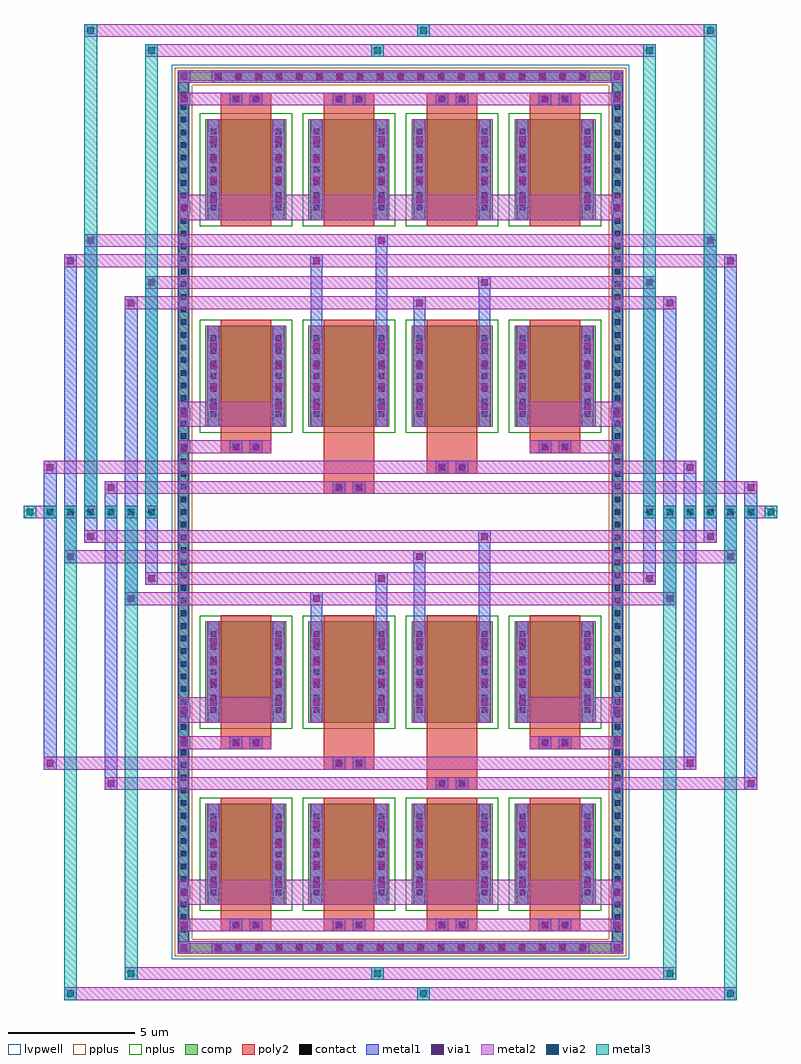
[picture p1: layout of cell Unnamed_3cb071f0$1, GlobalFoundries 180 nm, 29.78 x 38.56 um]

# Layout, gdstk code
import gdstk
lib = gdstk.Library(unit=1e-6, precision=5e-09)
def R(c, l, rs):  # rectangles x0, y0, x1, y1
    for r in rs: c.add(gdstk.rectangle(r[:2], r[2:], *l))
def A(c, l, x, y, w, h, nx, ny, dx, dy):  # array of equal rectangles
    R(c, l, [(x+i*dx, y+j*dy, x+i*dx+w, y+j*dy+h) for i in range(nx) for j in range(ny)])
def P(c, l, *ps):  # polygons
    for p in ps: c.add(gdstk.Polygon(p, *l))
comp = (22, 0)
poly2 = (30, 0)
pplus = (31, 0)
nplus = (32, 0)
contact = (33, 0)
metal1 = (34, 0)
via1 = (35, 0)
metal2 = (36, 0)
via2 = (38, 0)
metal3 = (42, 0)
lvpwell = (204, 0)

unnamed_3cb071f0_1 = lib.new_cell('Unnamed_3cb071f0$1')
A(unnamed_3cb071f0_1, comp, -7.38, -17.39, 0.36, 0.36, 19, 2, 0.8, 34.42)
A(unnamed_3cb071f0_1, comp, -8.755, -16.68, 0.36, 0.36, 1, 67, 0, 0.5)
A(unnamed_3cb071f0_1, comp, 8.395, -16.68, 0.36, 0.36, 1, 67, 0, 0.5)
A(unnamed_3cb071f0_1, comp, -7.705, -15.525, 3.2, 4, 4, 2, 4.07, 7.2)
A(unnamed_3cb071f0_1, comp, -7.705, 3.365, 3.2, 4, 4, 2, 4.07, 8.16)
R(unnamed_3cb071f0_1, comp, [(-7.38,-17.39,7.38,-17.03), (-8.755,-16.68,-8.395,16.68), (8.395,-16.68,8.755,16.68), (-7.38,17.03,7.38,17.39)])
P(unnamed_3cb071f0_1, comp, [(8.755,17.39),(-8.755,17.39),(-8.755,-17.03),(-8.395,-17.03),(-8.395,17.03),(8.395,17.03),(8.395,-17.03),(-8.395,-17.03),(-8.755,-17.03),(-8.755,-17.39),(8.755,-17.39)])
A(unnamed_3cb071f0_1, poly2, -7.105, -16.565, 2, 0.5, 4, 2, 4.07, 32.63)
A(unnamed_3cb071f0_1, poly2, -7.105, -16.065, 2, 0.3, 4, 2, 4.07, 31.83)
A(unnamed_3cb071f0_1, poly2, -7.105, -15.765, 2, 4.48, 4, 2, 4.07, 7.2)
A(unnamed_3cb071f0_1, poly2, -7.105, 3.125, 2, 4.48, 4, 2, 4.07, 8.16)
R(unnamed_3cb071f0_1, poly2, [(-6.685,-16.495,-6.325,-16.135), (-5.885,-16.495,-5.525,-16.135), (-2.615,-16.495,-2.255,-16.135), (-1.815,-16.495,-1.455,-16.135), (1.455,-16.495,1.815,-16.135), (2.255,-16.495,2.615,-16.135), (5.525,-16.495,5.885,-16.135), (6.325,-16.495,6.685,-16.135), (1.035,-10.975,3.035,-10.475), (1.455,-10.905,1.815,-10.545), (2.255,-10.905,2.615,-10.545), (1.035,-10.475,3.035,-8.565), (-3.035,-10.175,-1.035,-9.675), (-2.615,-10.105,-2.255,-9.745), (-1.815,-10.105,-1.455,-9.745), (-3.035,-9.675,-1.035,-8.565), (-7.105,-9.365,-5.105,-8.865), (5.105,-9.365,7.105,-8.865), (-6.685,-9.295,-6.325,-8.935), (-5.885,-9.295,-5.525,-8.935), (5.525,-9.295,5.885,-8.935), (6.325,-9.295,6.685,-8.935), (-7.105,-8.865,-5.105,-8.565), (5.105,-8.865,7.105,-8.565), (-3.035,0.715,-1.035,1.215), (-2.615,0.785,-2.255,1.145), (-1.815,0.785,-1.455,1.145), (-3.035,1.215,-1.035,3.125), (1.035,1.515,3.035,2.015), (1.455,1.585,1.815,1.945), (2.255,1.585,2.615,1.945), (1.035,2.015,3.035,3.125), (-7.105,2.325,-5.105,2.825), (5.105,2.325,7.105,2.825), (-6.685,2.395,-6.325,2.755), (-5.885,2.395,-5.525,2.755), (5.525,2.395,5.885,2.755), (6.325,2.395,6.685,2.755), (-7.105,2.825,-5.105,3.125), (5.105,2.825,7.105,3.125), (-6.685,16.135,-6.325,16.495), (-5.885,16.135,-5.525,16.495), (-2.615,16.135,-2.255,16.495), (-1.815,16.135,-1.455,16.495), (1.455,16.135,1.815,16.495), (2.255,16.135,2.615,16.495), (5.525,16.135,5.885,16.495), (6.325,16.135,6.685,16.495)])
P(unnamed_3cb071f0_1, pplus, [(8.915,17.55),(-8.915,17.55),(-8.915,-16.87),(-8.235,-16.87),(-8.235,16.87),(8.235,16.87),(8.235,-16.87),(-8.235,-16.87),(-8.915,-16.87),(-8.915,-17.55),(8.915,-17.55)])
A(unnamed_3cb071f0_1, nplus, -7.935, -15.755, 3.66, 4.46, 4, 2, 4.07, 7.2)
A(unnamed_3cb071f0_1, nplus, -7.935, 3.135, 3.66, 4.46, 4, 2, 4.07, 8.16)
A(unnamed_3cb071f0_1, contact, -7.31, -17.32, 0.22, 0.22, 19, 2, 0.8, 34.42)
A(unnamed_3cb071f0_1, contact, -8.685, -16.61, 0.22, 0.22, 1, 67, 0, 0.5)
A(unnamed_3cb071f0_1, contact, 8.465, -16.61, 0.22, 0.22, 1, 67, 0, 0.5)
A(unnamed_3cb071f0_1, contact, -7.495, -15.135, 0.22, 0.22, 1, 7, 0, 0.5)
A(unnamed_3cb071f0_1, contact, -4.935, -15.135, 0.22, 0.22, 1, 7, 0, 0.5)
A(unnamed_3cb071f0_1, contact, -3.425, -15.135, 0.22, 0.22, 1, 7, 0, 0.5)
A(unnamed_3cb071f0_1, contact, -0.865, -15.135, 0.22, 0.22, 1, 7, 0, 0.5)
A(unnamed_3cb071f0_1, contact, 0.645, -15.135, 0.22, 0.22, 1, 7, 0, 0.5)
A(unnamed_3cb071f0_1, contact, 3.205, -15.135, 0.22, 0.22, 1, 7, 0, 0.5)
A(unnamed_3cb071f0_1, contact, 4.715, -15.135, 0.22, 0.22, 1, 7, 0, 0.5)
A(unnamed_3cb071f0_1, contact, 7.275, -15.135, 0.22, 0.22, 1, 7, 0, 0.5)
A(unnamed_3cb071f0_1, contact, -7.495, -7.935, 0.22, 0.22, 1, 7, 0, 0.5)
A(unnamed_3cb071f0_1, contact, -4.935, -7.935, 0.22, 0.22, 1, 7, 0, 0.5)
A(unnamed_3cb071f0_1, contact, -3.425, -7.935, 0.22, 0.22, 1, 7, 0, 0.5)
A(unnamed_3cb071f0_1, contact, -0.865, -7.935, 0.22, 0.22, 1, 7, 0, 0.5)
A(unnamed_3cb071f0_1, contact, 0.645, -7.935, 0.22, 0.22, 1, 7, 0, 0.5)
A(unnamed_3cb071f0_1, contact, 3.205, -7.935, 0.22, 0.22, 1, 7, 0, 0.5)
A(unnamed_3cb071f0_1, contact, 4.715, -7.935, 0.22, 0.22, 1, 7, 0, 0.5)
A(unnamed_3cb071f0_1, contact, 7.275, -7.935, 0.22, 0.22, 1, 7, 0, 0.5)
A(unnamed_3cb071f0_1, contact, -7.495, 3.755, 0.22, 0.22, 1, 7, 0, 0.5)
A(unnamed_3cb071f0_1, contact, -4.935, 3.755, 0.22, 0.22, 1, 7, 0, 0.5)
A(unnamed_3cb071f0_1, contact, -3.425, 3.755, 0.22, 0.22, 1, 7, 0, 0.5)
A(unnamed_3cb071f0_1, contact, -0.865, 3.755, 0.22, 0.22, 1, 7, 0, 0.5)
A(unnamed_3cb071f0_1, contact, 0.645, 3.755, 0.22, 0.22, 1, 7, 0, 0.5)
A(unnamed_3cb071f0_1, contact, 3.205, 3.755, 0.22, 0.22, 1, 7, 0, 0.5)
A(unnamed_3cb071f0_1, contact, 4.715, 3.755, 0.22, 0.22, 1, 7, 0, 0.5)
A(unnamed_3cb071f0_1, contact, 7.275, 3.755, 0.22, 0.22, 1, 7, 0, 0.5)
A(unnamed_3cb071f0_1, contact, -7.495, 11.915, 0.22, 0.22, 1, 7, 0, 0.5)
A(unnamed_3cb071f0_1, contact, -4.935, 11.915, 0.22, 0.22, 1, 7, 0, 0.5)
A(unnamed_3cb071f0_1, contact, -3.425, 11.915, 0.22, 0.22, 1, 7, 0, 0.5)
A(unnamed_3cb071f0_1, contact, -0.865, 11.915, 0.22, 0.22, 1, 7, 0, 0.5)
A(unnamed_3cb071f0_1, contact, 0.645, 11.915, 0.22, 0.22, 1, 7, 0, 0.5)
A(unnamed_3cb071f0_1, contact, 3.205, 11.915, 0.22, 0.22, 1, 7, 0, 0.5)
A(unnamed_3cb071f0_1, contact, 4.715, 11.915, 0.22, 0.22, 1, 7, 0, 0.5)
A(unnamed_3cb071f0_1, contact, 7.275, 11.915, 0.22, 0.22, 1, 7, 0, 0.5)
R(unnamed_3cb071f0_1, contact, [(-6.615,-16.425,-6.395,-16.205), (-5.815,-16.425,-5.595,-16.205), (-2.545,-16.425,-2.325,-16.205), (-1.745,-16.425,-1.525,-16.205), (1.525,-16.425,1.745,-16.205), (2.325,-16.425,2.545,-16.205), (5.595,-16.425,5.815,-16.205), (6.395,-16.425,6.615,-16.205), (1.525,-10.835,1.745,-10.615), (2.325,-10.835,2.545,-10.615), (-2.545,-10.035,-2.325,-9.815), (-1.745,-10.035,-1.525,-9.815), (-6.615,-9.225,-6.395,-9.005), (-5.815,-9.225,-5.595,-9.005), (5.595,-9.225,5.815,-9.005), (6.395,-9.225,6.615,-9.005), (-2.545,0.855,-2.325,1.075), (-1.745,0.855,-1.525,1.075), (1.525,1.655,1.745,1.875), (2.325,1.655,2.545,1.875), (-6.615,2.465,-6.395,2.685), (-5.815,2.465,-5.595,2.685), (5.595,2.465,5.815,2.685), (6.395,2.465,6.615,2.685), (-6.615,16.205,-6.395,16.425), (-5.815,16.205,-5.595,16.425), (-2.545,16.205,-2.325,16.425), (-1.745,16.205,-1.525,16.425), (1.525,16.205,1.745,16.425), (2.325,16.205,2.545,16.425), (5.595,16.205,5.815,16.425), (6.395,16.205,6.615,16.425)])
A(unnamed_3cb071f0_1, metal1, -7.45, -17.46, 0.5, 0.5, 19, 2, 0.8, 34.42)
A(unnamed_3cb071f0_1, metal1, -8.805, -16.73, 0.46, 0.46, 1, 67, 0, 0.5)
A(unnamed_3cb071f0_1, metal1, 8.345, -16.73, 0.46, 0.46, 1, 67, 0, 0.5)
A(unnamed_3cb071f0_1, metal1, -7.615, -15.255, 0.46, 0.46, 1, 7, 0, 0.5)
A(unnamed_3cb071f0_1, metal1, -5.055, -15.255, 0.46, 0.46, 1, 7, 0, 0.5)
A(unnamed_3cb071f0_1, metal1, -3.545, -15.255, 0.46, 0.46, 1, 7, 0, 0.5)
A(unnamed_3cb071f0_1, metal1, -0.985, -15.255, 0.46, 0.46, 1, 7, 0, 0.5)
A(unnamed_3cb071f0_1, metal1, 0.525, -15.255, 0.46, 0.46, 1, 7, 0, 0.5)
A(unnamed_3cb071f0_1, metal1, 3.085, -15.255, 0.46, 0.46, 1, 7, 0, 0.5)
A(unnamed_3cb071f0_1, metal1, 4.595, -15.255, 0.46, 0.46, 1, 7, 0, 0.5)
A(unnamed_3cb071f0_1, metal1, 7.155, -15.255, 0.46, 0.46, 1, 7, 0, 0.5)
A(unnamed_3cb071f0_1, metal1, -7.635, -14.975, 0.5, 0.5, 1, 4, 0, 0.8)
A(unnamed_3cb071f0_1, metal1, -5.075, -14.975, 0.5, 0.5, 1, 4, 0, 0.8)
A(unnamed_3cb071f0_1, metal1, -3.565, -14.975, 0.5, 0.5, 1, 4, 0, 0.8)
A(unnamed_3cb071f0_1, metal1, -1.005, -14.975, 0.5, 0.5, 1, 4, 0, 0.8)
A(unnamed_3cb071f0_1, metal1, 0.505, -14.975, 0.5, 0.5, 1, 4, 0, 0.8)
A(unnamed_3cb071f0_1, metal1, 3.065, -14.975, 0.5, 0.5, 1, 4, 0, 0.8)
A(unnamed_3cb071f0_1, metal1, 4.575, -14.975, 0.5, 0.5, 1, 4, 0, 0.8)
A(unnamed_3cb071f0_1, metal1, 7.135, -14.975, 0.5, 0.5, 1, 4, 0, 0.8)
A(unnamed_3cb071f0_1, metal1, -7.615, -8.055, 0.46, 0.46, 1, 7, 0, 0.5)
A(unnamed_3cb071f0_1, metal1, -5.055, -8.055, 0.46, 0.46, 1, 7, 0, 0.5)
A(unnamed_3cb071f0_1, metal1, -3.545, -8.055, 0.46, 0.46, 1, 7, 0, 0.5)
A(unnamed_3cb071f0_1, metal1, -0.985, -8.055, 0.46, 0.46, 1, 7, 0, 0.5)
A(unnamed_3cb071f0_1, metal1, 0.525, -8.055, 0.46, 0.46, 1, 7, 0, 0.5)
A(unnamed_3cb071f0_1, metal1, 3.085, -8.055, 0.46, 0.46, 1, 7, 0, 0.5)
A(unnamed_3cb071f0_1, metal1, 4.595, -8.055, 0.46, 0.46, 1, 7, 0, 0.5)
A(unnamed_3cb071f0_1, metal1, 7.155, -8.055, 0.46, 0.46, 1, 7, 0, 0.5)
A(unnamed_3cb071f0_1, metal1, -7.635, -7.775, 0.5, 0.5, 1, 4, 0, 0.8)
A(unnamed_3cb071f0_1, metal1, -5.075, -7.775, 0.5, 0.5, 1, 4, 0, 0.8)
A(unnamed_3cb071f0_1, metal1, -3.565, -7.775, 0.5, 0.5, 1, 4, 0, 0.8)
A(unnamed_3cb071f0_1, metal1, -1.005, -7.775, 0.5, 0.5, 1, 4, 0, 0.8)
A(unnamed_3cb071f0_1, metal1, 0.505, -7.775, 0.5, 0.5, 1, 4, 0, 0.8)
A(unnamed_3cb071f0_1, metal1, 3.065, -7.775, 0.5, 0.5, 1, 4, 0, 0.8)
A(unnamed_3cb071f0_1, metal1, 4.575, -7.775, 0.5, 0.5, 1, 4, 0, 0.8)
A(unnamed_3cb071f0_1, metal1, 7.135, -7.775, 0.5, 0.5, 1, 4, 0, 0.8)
A(unnamed_3cb071f0_1, metal1, -14.09, -0.25, 0.5, 0.5, 6, 1, 0.8, 0)
A(unnamed_3cb071f0_1, metal1, 9.59, -0.25, 0.5, 0.5, 6, 1, 0.8, 0)
A(unnamed_3cb071f0_1, metal1, -7.615, 3.635, 0.46, 0.46, 1, 7, 0, 0.5)
A(unnamed_3cb071f0_1, metal1, -5.055, 3.635, 0.46, 0.46, 1, 7, 0, 0.5)
A(unnamed_3cb071f0_1, metal1, -3.545, 3.635, 0.46, 0.46, 1, 7, 0, 0.5)
A(unnamed_3cb071f0_1, metal1, -0.985, 3.635, 0.46, 0.46, 1, 7, 0, 0.5)
A(unnamed_3cb071f0_1, metal1, 0.525, 3.635, 0.46, 0.46, 1, 7, 0, 0.5)
A(unnamed_3cb071f0_1, metal1, 3.085, 3.635, 0.46, 0.46, 1, 7, 0, 0.5)
A(unnamed_3cb071f0_1, metal1, 4.595, 3.635, 0.46, 0.46, 1, 7, 0, 0.5)
A(unnamed_3cb071f0_1, metal1, 7.155, 3.635, 0.46, 0.46, 1, 7, 0, 0.5)
A(unnamed_3cb071f0_1, metal1, -7.635, 3.915, 0.5, 0.5, 1, 4, 0, 0.8)
A(unnamed_3cb071f0_1, metal1, -5.075, 3.915, 0.5, 0.5, 1, 4, 0, 0.8)
A(unnamed_3cb071f0_1, metal1, -3.565, 3.915, 0.5, 0.5, 1, 4, 0, 0.8)
A(unnamed_3cb071f0_1, metal1, -1.005, 3.915, 0.5, 0.5, 1, 4, 0, 0.8)
A(unnamed_3cb071f0_1, metal1, 0.505, 3.915, 0.5, 0.5, 1, 4, 0, 0.8)
A(unnamed_3cb071f0_1, metal1, 3.065, 3.915, 0.5, 0.5, 1, 4, 0, 0.8)
A(unnamed_3cb071f0_1, metal1, 4.575, 3.915, 0.5, 0.5, 1, 4, 0, 0.8)
A(unnamed_3cb071f0_1, metal1, 7.135, 3.915, 0.5, 0.5, 1, 4, 0, 0.8)
A(unnamed_3cb071f0_1, metal1, -7.615, 11.795, 0.46, 0.46, 1, 7, 0, 0.5)
A(unnamed_3cb071f0_1, metal1, -5.055, 11.795, 0.46, 0.46, 1, 7, 0, 0.5)
A(unnamed_3cb071f0_1, metal1, -3.545, 11.795, 0.46, 0.46, 1, 7, 0, 0.5)
A(unnamed_3cb071f0_1, metal1, -0.985, 11.795, 0.46, 0.46, 1, 7, 0, 0.5)
A(unnamed_3cb071f0_1, metal1, 0.525, 11.795, 0.46, 0.46, 1, 7, 0, 0.5)
A(unnamed_3cb071f0_1, metal1, 3.085, 11.795, 0.46, 0.46, 1, 7, 0, 0.5)
A(unnamed_3cb071f0_1, metal1, 4.595, 11.795, 0.46, 0.46, 1, 7, 0, 0.5)
A(unnamed_3cb071f0_1, metal1, 7.155, 11.795, 0.46, 0.46, 1, 7, 0, 0.5)
A(unnamed_3cb071f0_1, metal1, -7.635, 12.075, 0.5, 0.5, 1, 4, 0, 0.8)
A(unnamed_3cb071f0_1, metal1, -5.075, 12.075, 0.5, 0.5, 1, 4, 0, 0.8)
A(unnamed_3cb071f0_1, metal1, -3.565, 12.075, 0.5, 0.5, 1, 4, 0, 0.8)
A(unnamed_3cb071f0_1, metal1, -1.005, 12.075, 0.5, 0.5, 1, 4, 0, 0.8)
A(unnamed_3cb071f0_1, metal1, 0.505, 12.075, 0.5, 0.5, 1, 4, 0, 0.8)
A(unnamed_3cb071f0_1, metal1, 3.065, 12.075, 0.5, 0.5, 1, 4, 0, 0.8)
A(unnamed_3cb071f0_1, metal1, 4.575, 12.075, 0.5, 0.5, 1, 4, 0, 0.8)
A(unnamed_3cb071f0_1, metal1, 7.135, 12.075, 0.5, 0.5, 1, 4, 0, 0.8)
R(unnamed_3cb071f0_1, metal1, [(-8.805,-17.46,-8.305,-16.96), (-8.805,-17.46,-8.305,-16.96), (-8.805,-17.46,-8.345,-17.03), (-7.45,-17.46,7.45,-16.96), (8.305,-17.46,8.805,-16.96), (8.305,-17.46,8.805,-16.96), (8.345,-17.46,8.805,-17.03), (-8.805,-17.03,-8.345,17.03), (8.345,-17.03,8.805,17.03), (-8.805,-16.565,-8.305,-16.065), (-6.755,-16.565,-6.255,-16.065), (-5.955,-16.565,-5.455,-16.065), (-2.685,-16.565,-2.185,-16.065), (-1.885,-16.565,-1.385,-16.065), (1.385,-16.565,1.885,-16.065), (2.185,-16.565,2.685,-16.065), (5.455,-16.565,5.955,-16.065), (6.255,-16.565,6.755,-16.065), (8.305,-16.565,8.805,-16.065), (-7.615,-15.525,-7.155,-11.525), (-5.055,-15.525,-4.595,-11.525), (-3.545,-15.525,-3.085,-11.525), (-0.985,-15.525,-0.525,-11.525), (0.525,-15.525,0.985,-11.525), (3.085,-15.525,3.545,-11.525), (4.595,-15.525,5.055,-11.525), (7.155,-15.525,7.615,-11.525), (-8.805,-15.275,-8.305,-14.775), (8.305,-15.275,8.805,-14.775), (-7.635,-14.975,-7.135,-12.075), (-5.075,-14.975,-4.575,-12.075), (-3.565,-14.975,-3.065,-12.075), (-1.005,-14.975,-0.505,-12.075), (0.505,-14.975,1.005,-12.075), (3.065,-14.975,3.565,-12.075), (4.575,-14.975,5.075,-12.075), (7.135,-14.975,7.635,-12.075), (-11.69,-10.975,-11.19,-10.475), (-11.69,-10.975,-11.19,-10.475), (-11.69,-10.975,-11.19,0.25), (1.385,-10.975,1.885,-10.475), (2.185,-10.975,2.685,-10.475), (13.59,-10.975,14.09,-10.475), (13.59,-10.975,14.09,-10.475), (13.59,-10.975,14.09,0.25), (-14.09,-10.175,-13.59,-9.675), (-14.09,-10.175,-13.59,-9.675), (-14.09,-10.175,-13.59,0.25), (-2.685,-10.175,-2.185,-9.675), (-1.885,-10.175,-1.385,-9.675), (11.19,-10.175,11.69,-9.675), (11.19,-10.175,11.69,-9.675), (11.19,-10.175,11.69,0.25), (-8.805,-9.365,-8.305,-8.865), (-6.755,-9.365,-6.255,-8.865), (-5.955,-9.365,-5.455,-8.865), (5.455,-9.365,5.955,-8.865), (6.255,-9.365,6.755,-8.865), (8.305,-9.365,8.805,-8.865), (-7.615,-8.325,-7.155,-4.325), (-5.055,-8.325,-4.595,-4.325), (-3.545,-8.325,-3.085,-4.325), (-0.985,-8.325,-0.525,-4.325), (0.525,-8.325,0.985,-4.325), (3.085,-8.325,3.545,-4.325), (4.595,-8.325,5.055,-4.325), (7.155,-8.325,7.615,-4.325), (-8.805,-8.075,-8.305,-7.575), (8.305,-8.075,8.805,-7.575), (-7.635,-7.775,-7.135,-4.875), (-5.075,-7.775,-4.575,-4.875), (-3.565,-7.775,-3.065,-4.875), (-1.005,-7.775,-0.505,-4.875), (0.505,-7.775,1.005,-4.875), (3.065,-7.775,3.565,-4.875), (4.575,-7.775,5.075,-4.875), (7.135,-7.775,7.635,-4.875), (-3.545,-4.325,-3.085,-3.175), (-0.985,-4.325,-0.525,-2.375), (0.525,-4.325,0.985,-1.515), (3.085,-4.325,3.545,-0.715), (-10.89,-3.675,-10.39,-3.175), (-10.89,-3.675,-10.39,-3.175), (-10.89,-3.675,-10.39,0.25), (-3.565,-3.675,-3.065,-3.175), (10.39,-3.675,10.89,-3.175), (10.39,-3.675,10.89,-3.175), (10.39,-3.675,10.89,0.25), (-10.09,-2.875,-9.59,-2.375), (-10.09,-2.875,-9.59,-2.375), (-10.09,-2.875,-9.59,0.25), (-1.005,-2.875,-0.505,-2.375), (9.59,-2.875,10.09,-2.375), (9.59,-2.875,10.09,-2.375), (9.59,-2.875,10.09,0.25), (-13.29,-2.015,-12.79,-1.515), (-13.29,-2.015,-12.79,-1.515), (-13.29,-2.015,-12.79,0.25), (0.505,-2.015,1.005,-1.515), (12.79,-2.015,13.29,-1.515), (12.79,-2.015,13.29,-1.515), (12.79,-2.015,13.29,0.25), (-12.49,-1.215,-11.99,-0.715), (-12.49,-1.215,-11.99,-0.715), (-12.49,-1.215,-11.99,0.25), (3.065,-1.215,3.565,-0.715), (11.99,-1.215,12.49,-0.715), (11.99,-1.215,12.49,-0.715), (11.99,-1.215,12.49,0.25), (-14.09,0.25,-13.59,2.015), (-13.29,0.25,-12.79,10.175), (-12.49,0.25,-11.99,10.975), (-11.69,0.25,-11.19,1.215), (-10.89,0.25,-10.39,8.515), (-10.09,0.25,-9.59,9.315), (9.59,0.25,10.09,9.315), (10.39,0.25,10.89,8.515), (11.19,0.25,11.69,2.015), (11.99,0.25,12.49,10.975), (12.79,0.25,13.29,10.175), (13.59,0.25,14.09,1.215), (-11.69,0.715,-11.19,1.215), (-11.69,0.715,-11.19,1.215), (-2.685,0.715,-2.185,1.215), (-1.885,0.715,-1.385,1.215), (13.59,0.715,14.09,1.215), (13.59,0.715,14.09,1.215), (-14.09,1.515,-13.59,2.015), (-14.09,1.515,-13.59,2.015), (1.385,1.515,1.885,2.015), (2.185,1.515,2.685,2.015), (11.19,1.515,11.69,2.015), (11.19,1.515,11.69,2.015), (-8.805,2.325,-8.305,2.825), (-6.755,2.325,-6.255,2.825), (-5.955,2.325,-5.455,2.825), (5.455,2.325,5.955,2.825), (6.255,2.325,6.755,2.825), (8.305,2.325,8.805,2.825), (-7.615,3.365,-7.155,7.365), (-5.055,3.365,-4.595,7.365), (-3.545,3.365,-3.085,7.365), (-0.985,3.365,-0.525,7.365), (0.525,3.365,0.985,7.365), (3.085,3.365,3.545,7.365), (4.595,3.365,5.055,7.365), (7.155,3.365,7.615,7.365), (-8.805,3.615,-8.305,4.115), (8.305,3.615,8.805,4.115), (-7.635,3.915,-7.135,6.815), (-5.075,3.915,-4.575,6.815), (-3.565,3.915,-3.065,6.815), (-1.005,3.915,-0.505,6.815), (0.505,3.915,1.005,6.815), (3.065,3.915,3.565,6.815), (4.575,3.915,5.075,6.815), (7.135,3.915,7.635,6.815), (-3.545,7.365,-3.085,10.175), (-0.985,7.365,-0.525,10.975), (0.525,7.365,0.985,8.515), (3.085,7.365,3.545,9.315), (-10.89,8.015,-10.39,8.515), (-10.89,8.015,-10.39,8.515), (0.505,8.015,1.005,8.515), (10.39,8.015,10.89,8.515), (10.39,8.015,10.89,8.515), (-10.09,8.815,-9.59,9.315), (-10.09,8.815,-9.59,9.315), (3.065,8.815,3.565,9.315), (9.59,8.815,10.09,9.315), (9.59,8.815,10.09,9.315), (-13.29,9.675,-12.79,10.175), (-13.29,9.675,-12.79,10.175), (-3.565,9.675,-3.065,10.175), (12.79,9.675,13.29,10.175), (12.79,9.675,13.29,10.175), (-12.49,10.475,-11.99,10.975), (-12.49,10.475,-11.99,10.975), (-1.005,10.475,-0.505,10.975), (11.99,10.475,12.49,10.975), (11.99,10.475,12.49,10.975), (-7.615,11.525,-7.155,15.525), (-5.055,11.525,-4.595,15.525), (-3.545,11.525,-3.085,15.525), (-0.985,11.525,-0.525,15.525), (0.525,11.525,0.985,15.525), (3.085,11.525,3.545,15.525), (4.595,11.525,5.055,15.525), (7.155,11.525,7.615,15.525), (-8.805,11.775,-8.305,12.275), (8.305,11.775,8.805,12.275), (-7.635,12.075,-7.135,14.975), (-5.075,12.075,-4.575,14.975), (-3.565,12.075,-3.065,14.975), (-1.005,12.075,-0.505,14.975), (0.505,12.075,1.005,14.975), (3.065,12.075,3.565,14.975), (4.575,12.075,5.075,14.975), (7.135,12.075,7.635,14.975), (-8.805,16.065,-8.305,16.565), (-6.755,16.065,-6.255,16.565), (-5.955,16.065,-5.455,16.565), (-2.685,16.065,-2.185,16.565), (-1.885,16.065,-1.385,16.565), (1.385,16.065,1.885,16.565), (2.185,16.065,2.685,16.565), (5.455,16.065,5.955,16.565), (6.255,16.065,6.755,16.565), (8.305,16.065,8.805,16.565), (-8.805,16.96,-8.305,17.46), (-8.805,16.96,-8.305,17.46), (-7.45,16.96,7.45,17.46), (8.305,16.96,8.805,17.46), (8.305,16.96,8.805,17.46), (-8.805,17.03,-8.345,17.46), (8.345,17.03,8.805,17.46)])
A(unnamed_3cb071f0_1, via1, -7.33, -17.34, 0.26, 0.26, 19, 2, 0.8, 34.42)
A(unnamed_3cb071f0_1, via1, -7.515, -14.855, 0.26, 0.26, 1, 4, 0, 0.8)
A(unnamed_3cb071f0_1, via1, -4.955, -14.855, 0.26, 0.26, 1, 4, 0, 0.8)
A(unnamed_3cb071f0_1, via1, -3.445, -14.855, 0.26, 0.26, 1, 4, 0, 0.8)
A(unnamed_3cb071f0_1, via1, -0.885, -14.855, 0.26, 0.26, 1, 4, 0, 0.8)
A(unnamed_3cb071f0_1, via1, 0.625, -14.855, 0.26, 0.26, 1, 4, 0, 0.8)
A(unnamed_3cb071f0_1, via1, 3.185, -14.855, 0.26, 0.26, 1, 4, 0, 0.8)
A(unnamed_3cb071f0_1, via1, 4.695, -14.855, 0.26, 0.26, 1, 4, 0, 0.8)
A(unnamed_3cb071f0_1, via1, 7.255, -14.855, 0.26, 0.26, 1, 4, 0, 0.8)
A(unnamed_3cb071f0_1, via1, -7.515, -7.655, 0.26, 0.26, 1, 4, 0, 0.8)
A(unnamed_3cb071f0_1, via1, -4.955, -7.655, 0.26, 0.26, 1, 4, 0, 0.8)
A(unnamed_3cb071f0_1, via1, -3.445, -7.655, 0.26, 0.26, 1, 4, 0, 0.8)
A(unnamed_3cb071f0_1, via1, -0.885, -7.655, 0.26, 0.26, 1, 4, 0, 0.8)
A(unnamed_3cb071f0_1, via1, 0.625, -7.655, 0.26, 0.26, 1, 4, 0, 0.8)
A(unnamed_3cb071f0_1, via1, 3.185, -7.655, 0.26, 0.26, 1, 4, 0, 0.8)
A(unnamed_3cb071f0_1, via1, 4.695, -7.655, 0.26, 0.26, 1, 4, 0, 0.8)
A(unnamed_3cb071f0_1, via1, 7.255, -7.655, 0.26, 0.26, 1, 4, 0, 0.8)
A(unnamed_3cb071f0_1, via1, -13.97, -0.13, 0.26, 0.26, 6, 1, 0.8, 0)
A(unnamed_3cb071f0_1, via1, 9.71, -0.13, 0.26, 0.26, 6, 1, 0.8, 0)
A(unnamed_3cb071f0_1, via1, -7.515, 4.035, 0.26, 0.26, 1, 4, 0, 0.8)
A(unnamed_3cb071f0_1, via1, -4.955, 4.035, 0.26, 0.26, 1, 4, 0, 0.8)
A(unnamed_3cb071f0_1, via1, -3.445, 4.035, 0.26, 0.26, 1, 4, 0, 0.8)
A(unnamed_3cb071f0_1, via1, -0.885, 4.035, 0.26, 0.26, 1, 4, 0, 0.8)
A(unnamed_3cb071f0_1, via1, 0.625, 4.035, 0.26, 0.26, 1, 4, 0, 0.8)
A(unnamed_3cb071f0_1, via1, 3.185, 4.035, 0.26, 0.26, 1, 4, 0, 0.8)
A(unnamed_3cb071f0_1, via1, 4.695, 4.035, 0.26, 0.26, 1, 4, 0, 0.8)
A(unnamed_3cb071f0_1, via1, 7.255, 4.035, 0.26, 0.26, 1, 4, 0, 0.8)
A(unnamed_3cb071f0_1, via1, -7.515, 12.195, 0.26, 0.26, 1, 4, 0, 0.8)
A(unnamed_3cb071f0_1, via1, -4.955, 12.195, 0.26, 0.26, 1, 4, 0, 0.8)
A(unnamed_3cb071f0_1, via1, -3.445, 12.195, 0.26, 0.26, 1, 4, 0, 0.8)
A(unnamed_3cb071f0_1, via1, -0.885, 12.195, 0.26, 0.26, 1, 4, 0, 0.8)
A(unnamed_3cb071f0_1, via1, 0.625, 12.195, 0.26, 0.26, 1, 4, 0, 0.8)
A(unnamed_3cb071f0_1, via1, 3.185, 12.195, 0.26, 0.26, 1, 4, 0, 0.8)
A(unnamed_3cb071f0_1, via1, 4.695, 12.195, 0.26, 0.26, 1, 4, 0, 0.8)
A(unnamed_3cb071f0_1, via1, 7.255, 12.195, 0.26, 0.26, 1, 4, 0, 0.8)
R(unnamed_3cb071f0_1, via1, [(-8.685,-17.34,-8.425,-17.08), (8.425,-17.34,8.685,-17.08), (-8.685,-16.445,-8.425,-16.185), (-6.635,-16.445,-6.375,-16.185), (-5.835,-16.445,-5.575,-16.185), (-2.565,-16.445,-2.305,-16.185), (-1.765,-16.445,-1.505,-16.185), (1.505,-16.445,1.765,-16.185), (2.305,-16.445,2.565,-16.185), (5.575,-16.445,5.835,-16.185), (6.375,-16.445,6.635,-16.185), (8.425,-16.445,8.685,-16.185), (-8.685,-15.155,-8.425,-14.895), (8.425,-15.155,8.685,-14.895), (-11.57,-10.855,-11.31,-10.595), (1.505,-10.855,1.765,-10.595), (2.305,-10.855,2.565,-10.595), (13.71,-10.855,13.97,-10.595), (-13.97,-10.055,-13.71,-9.795), (-2.565,-10.055,-2.305,-9.795), (-1.765,-10.055,-1.505,-9.795), (11.31,-10.055,11.57,-9.795), (-8.685,-9.245,-8.425,-8.985), (-6.635,-9.245,-6.375,-8.985), (-5.835,-9.245,-5.575,-8.985), (5.575,-9.245,5.835,-8.985), (6.375,-9.245,6.635,-8.985), (8.425,-9.245,8.685,-8.985), (-8.685,-7.955,-8.425,-7.695), (8.425,-7.955,8.685,-7.695), (-10.77,-3.555,-10.51,-3.295), (-3.445,-3.555,-3.185,-3.295), (10.51,-3.555,10.77,-3.295), (-9.97,-2.755,-9.71,-2.495), (-0.885,-2.755,-0.625,-2.495), (9.71,-2.755,9.97,-2.495), (-13.17,-1.895,-12.91,-1.635), (0.625,-1.895,0.885,-1.635), (12.91,-1.895,13.17,-1.635), (-12.37,-1.095,-12.11,-0.835), (3.185,-1.095,3.445,-0.835), (12.11,-1.095,12.37,-0.835), (-11.57,0.835,-11.31,1.095), (-2.565,0.835,-2.305,1.095), (-1.765,0.835,-1.505,1.095), (13.71,0.835,13.97,1.095), (-13.97,1.635,-13.71,1.895), (1.505,1.635,1.765,1.895), (2.305,1.635,2.565,1.895), (11.31,1.635,11.57,1.895), (-8.685,2.445,-8.425,2.705), (-6.635,2.445,-6.375,2.705), (-5.835,2.445,-5.575,2.705), (5.575,2.445,5.835,2.705), (6.375,2.445,6.635,2.705), (8.425,2.445,8.685,2.705), (-8.685,3.735,-8.425,3.995), (8.425,3.735,8.685,3.995), (-10.77,8.135,-10.51,8.395), (0.625,8.135,0.885,8.395), (10.51,8.135,10.77,8.395), (-9.97,8.935,-9.71,9.195), (3.185,8.935,3.445,9.195), (9.71,8.935,9.97,9.195), (-13.17,9.795,-12.91,10.055), (-3.445,9.795,-3.185,10.055), (12.91,9.795,13.17,10.055), (-12.37,10.595,-12.11,10.855), (-0.885,10.595,-0.625,10.855), (12.11,10.595,12.37,10.855), (-8.685,11.895,-8.425,12.155), (8.425,11.895,8.685,12.155), (-8.685,16.185,-8.425,16.445), (-6.635,16.185,-6.375,16.445), (-5.835,16.185,-5.575,16.445), (-2.565,16.185,-2.305,16.445), (-1.765,16.185,-1.505,16.445), (1.505,16.185,1.765,16.445), (2.305,16.185,2.565,16.445), (5.575,16.185,5.835,16.445), (6.375,16.185,6.635,16.445), (8.425,16.185,8.685,16.445), (-8.685,17.08,-8.425,17.34), (8.425,17.08,8.685,17.34)])
A(unnamed_3cb071f0_1, metal2, -7.45, -17.46, 0.5, 0.5, 19, 2, 0.8, 34.42)
A(unnamed_3cb071f0_1, metal2, -7.105, -16.565, 2, 0.5, 4, 2, 4.07, 32.63)
A(unnamed_3cb071f0_1, metal2, -7.635, -14.975, 0.5, 0.5, 1, 4, 0, 0.8)
A(unnamed_3cb071f0_1, metal2, -5.075, -14.975, 0.5, 0.5, 1, 4, 0, 0.8)
A(unnamed_3cb071f0_1, metal2, -3.565, -14.975, 0.5, 0.5, 1, 4, 0, 0.8)
A(unnamed_3cb071f0_1, metal2, -1.005, -14.975, 0.5, 0.5, 1, 4, 0, 0.8)
A(unnamed_3cb071f0_1, metal2, 0.505, -14.975, 0.5, 0.5, 1, 4, 0, 0.8)
A(unnamed_3cb071f0_1, metal2, 3.065, -14.975, 0.5, 0.5, 1, 4, 0, 0.8)
A(unnamed_3cb071f0_1, metal2, 4.575, -14.975, 0.5, 0.5, 1, 4, 0, 0.8)
A(unnamed_3cb071f0_1, metal2, 7.135, -14.975, 0.5, 0.5, 1, 4, 0, 0.8)
A(unnamed_3cb071f0_1, metal2, -7.635, -7.775, 0.5, 0.5, 1, 4, 0, 0.8)
A(unnamed_3cb071f0_1, metal2, -5.075, -7.775, 0.5, 0.5, 1, 4, 0, 0.8)
A(unnamed_3cb071f0_1, metal2, -3.565, -7.775, 0.5, 0.5, 1, 4, 0, 0.8)
A(unnamed_3cb071f0_1, metal2, -1.005, -7.775, 0.5, 0.5, 1, 4, 0, 0.8)
A(unnamed_3cb071f0_1, metal2, 0.505, -7.775, 0.5, 0.5, 1, 4, 0, 0.8)
A(unnamed_3cb071f0_1, metal2, 3.065, -7.775, 0.5, 0.5, 1, 4, 0, 0.8)
A(unnamed_3cb071f0_1, metal2, 4.575, -7.775, 0.5, 0.5, 1, 4, 0, 0.8)
A(unnamed_3cb071f0_1, metal2, 7.135, -7.775, 0.5, 0.5, 1, 4, 0, 0.8)
A(unnamed_3cb071f0_1, metal2, -7.635, 3.915, 0.5, 0.5, 1, 4, 0, 0.8)
A(unnamed_3cb071f0_1, metal2, -5.075, 3.915, 0.5, 0.5, 1, 4, 0, 0.8)
A(unnamed_3cb071f0_1, metal2, -3.565, 3.915, 0.5, 0.5, 1, 4, 0, 0.8)
A(unnamed_3cb071f0_1, metal2, -1.005, 3.915, 0.5, 0.5, 1, 4, 0, 0.8)
A(unnamed_3cb071f0_1, metal2, 0.505, 3.915, 0.5, 0.5, 1, 4, 0, 0.8)
A(unnamed_3cb071f0_1, metal2, 3.065, 3.915, 0.5, 0.5, 1, 4, 0, 0.8)
A(unnamed_3cb071f0_1, metal2, 4.575, 3.915, 0.5, 0.5, 1, 4, 0, 0.8)
A(unnamed_3cb071f0_1, metal2, 7.135, 3.915, 0.5, 0.5, 1, 4, 0, 0.8)
A(unnamed_3cb071f0_1, metal2, -7.635, 12.075, 0.5, 0.5, 1, 4, 0, 0.8)
A(unnamed_3cb071f0_1, metal2, -5.075, 12.075, 0.5, 0.5, 1, 4, 0, 0.8)
A(unnamed_3cb071f0_1, metal2, -3.565, 12.075, 0.5, 0.5, 1, 4, 0, 0.8)
A(unnamed_3cb071f0_1, metal2, -1.005, 12.075, 0.5, 0.5, 1, 4, 0, 0.8)
A(unnamed_3cb071f0_1, metal2, 0.505, 12.075, 0.5, 0.5, 1, 4, 0, 0.8)
A(unnamed_3cb071f0_1, metal2, 3.065, 12.075, 0.5, 0.5, 1, 4, 0, 0.8)
A(unnamed_3cb071f0_1, metal2, 4.575, 12.075, 0.5, 0.5, 1, 4, 0, 0.8)
A(unnamed_3cb071f0_1, metal2, 7.135, 12.075, 0.5, 0.5, 1, 4, 0, 0.8)
R(unnamed_3cb071f0_1, metal2, [(-13.29,-19.28,-12.79,-18.78), (-13.29,-19.28,-12.79,-18.78), (-13.29,-19.28,0.66,-18.78), (0.66,-19.28,1.16,-18.78), (1.16,-19.28,13.29,-18.78), (12.79,-19.28,13.29,-18.78), (12.79,-19.28,13.29,-18.78), (-10.89,-18.48,-10.39,-17.98), (-10.89,-18.48,-10.39,-17.98), (-10.89,-18.48,-1.16,-17.98), (-1.16,-18.48,-0.66,-17.98), (-0.66,-18.48,10.89,-17.98), (10.39,-18.48,10.89,-17.98), (10.39,-18.48,10.89,-17.98), (-8.805,-17.46,-8.305,-16.96), (-8.805,-17.46,-8.305,-16.96), (-8.805,-17.46,-8.395,-16.96), (-8.395,-17.46,8.395,-16.96), (8.305,-17.46,8.805,-16.96), (8.305,-17.46,8.805,-16.96), (8.395,-17.46,8.805,-16.96), (-8.805,-16.565,-8.305,-16.065), (-8.805,-16.565,7.105,-16.065), (-7.105,-16.565,8.805,-16.065), (-6.755,-16.565,-6.255,-16.065), (-5.955,-16.565,-5.455,-16.065), (-2.685,-16.565,-2.185,-16.065), (-1.885,-16.565,-1.385,-16.065), (1.385,-16.565,1.885,-16.065), (2.185,-16.565,2.685,-16.065), (5.455,-16.565,5.955,-16.065), (6.255,-16.565,6.755,-16.065), (8.305,-16.565,8.805,-16.065), (-8.805,-15.525,-7.155,-14.525), (-7.635,-15.525,-7.135,-11.525), (-7.615,-15.525,8.805,-14.525), (-5.075,-15.525,-4.575,-11.525), (-3.565,-15.525,-3.065,-11.525), (-1.005,-15.525,-0.505,-11.525), (0.505,-15.525,1.005,-11.525), (3.065,-15.525,3.565,-11.525), (4.575,-15.525,5.075,-11.525), (7.135,-15.525,7.635,-11.525), (-8.805,-15.275,-8.305,-14.775), (8.305,-15.275,8.805,-14.775), (-11.69,-10.975,-11.19,-10.475), (-11.69,-10.975,-11.19,-10.475), (-11.69,-10.975,1.035,-10.475), (1.035,-10.975,3.035,-10.475), (1.385,-10.975,1.885,-10.475), (2.185,-10.975,2.685,-10.475), (3.035,-10.975,14.09,-10.475), (13.59,-10.975,14.09,-10.475), (13.59,-10.975,14.09,-10.475), (-14.09,-10.175,-13.59,-9.675), (-14.09,-10.175,-13.59,-9.675), (-14.09,-10.175,-3.035,-9.675), (-3.035,-10.175,-1.035,-9.675), (-2.685,-10.175,-2.185,-9.675), (-1.885,-10.175,-1.385,-9.675), (-1.035,-10.175,11.69,-9.675), (11.19,-10.175,11.69,-9.675), (11.19,-10.175,11.69,-9.675), (-8.805,-9.365,-8.305,-8.865), (-8.805,-9.365,-5.105,-8.865), (-7.105,-9.365,-5.105,-8.865), (-6.755,-9.365,-6.255,-8.865), (-5.955,-9.365,-5.455,-8.865), (5.105,-9.365,7.105,-8.865), (5.105,-9.365,8.805,-8.865), (5.455,-9.365,5.955,-8.865), (6.255,-9.365,6.755,-8.865), (8.305,-9.365,8.805,-8.865), (-8.805,-8.325,-4.595,-7.325), (-7.635,-8.325,-7.135,-4.325), (-5.075,-8.325,-4.575,-4.325), (-3.565,-8.325,-3.065,-4.325), (-1.005,-8.325,-0.505,-4.325), (0.505,-8.325,1.005,-4.325), (3.065,-8.325,3.565,-4.325), (4.575,-8.325,5.075,-4.325), (4.595,-8.325,8.805,-7.325), (7.135,-8.325,7.635,-4.325), (-8.805,-8.075,-8.305,-7.575), (8.305,-8.075,8.805,-7.575), (-10.89,-3.675,-10.39,-3.175), (-10.89,-3.675,-10.39,-3.175), (-10.89,-3.675,-3.565,-3.175), (-3.565,-3.675,-3.065,-3.175), (-3.565,-3.675,-0.505,-3.175), (-0.505,-3.675,10.89,-3.175), (10.39,-3.675,10.89,-3.175), (10.39,-3.675,10.89,-3.175), (-10.09,-2.875,-9.59,-2.375), (-10.09,-2.875,-9.59,-2.375), (-10.09,-2.875,-3.565,-2.375), (-3.565,-2.875,-0.505,-2.375), (-1.005,-2.875,-0.505,-2.375), (-0.505,-2.875,10.09,-2.375), (9.59,-2.875,10.09,-2.375), (9.59,-2.875,10.09,-2.375), (-13.29,-2.015,-12.79,-1.515), (-13.29,-2.015,-12.79,-1.515), (-13.29,-2.015,0.505,-1.515), (0.505,-2.015,1.005,-1.515), (0.505,-2.015,3.565,-1.515), (3.565,-2.015,13.29,-1.515), (12.79,-2.015,13.29,-1.515), (12.79,-2.015,13.29,-1.515), (-12.49,-1.215,-11.99,-0.715), (-12.49,-1.215,-11.99,-0.715), (-12.49,-1.215,0.505,-0.715), (0.505,-1.215,3.565,-0.715), (3.065,-1.215,3.565,-0.715), (3.565,-1.215,12.49,-0.715), (11.99,-1.215,12.49,-0.715), (11.99,-1.215,12.49,-0.715), (-14.89,-0.25,-14.39,0.25), (-14.39,-0.25,-14.09,0.25), (-14.09,-0.25,-13.59,0.25), (-14.09,-0.25,-13.59,0.25), (-13.29,-0.25,-12.79,0.25), (-13.29,-0.25,-12.79,0.25), (-12.49,-0.25,-11.99,0.25), (-12.49,-0.25,-11.99,0.25), (-11.69,-0.25,-11.19,0.25), (-11.69,-0.25,-11.19,0.25), (-10.89,-0.25,-10.39,0.25), (-10.89,-0.25,-10.39,0.25), (-10.09,-0.25,-9.59,0.25), (-10.09,-0.25,-9.59,0.25), (9.59,-0.25,10.09,0.25), (9.59,-0.25,10.09,0.25), (10.39,-0.25,10.89,0.25), (10.39,-0.25,10.89,0.25), (11.19,-0.25,11.69,0.25), (11.19,-0.25,11.69,0.25), (11.99,-0.25,12.49,0.25), (11.99,-0.25,12.49,0.25), (12.79,-0.25,13.29,0.25), (12.79,-0.25,13.29,0.25), (13.59,-0.25,14.09,0.25), (13.59,-0.25,14.09,0.25), (14.09,-0.25,14.39,0.25), (14.39,-0.25,14.89,0.25), (-11.69,0.715,-11.19,1.215), (-11.69,0.715,-11.19,1.215), (-11.69,0.715,-3.035,1.215), (-3.035,0.715,-1.035,1.215), (-2.685,0.715,-2.185,1.215), (-1.885,0.715,-1.385,1.215), (-1.035,0.715,14.09,1.215), (13.59,0.715,14.09,1.215), (13.59,0.715,14.09,1.215), (-14.09,1.515,-13.59,2.015), (-14.09,1.515,-13.59,2.015), (-14.09,1.515,1.035,2.015), (1.035,1.515,3.035,2.015), (1.385,1.515,1.885,2.015), (2.185,1.515,2.685,2.015), (3.035,1.515,11.69,2.015), (11.19,1.515,11.69,2.015), (11.19,1.515,11.69,2.015), (-8.805,2.325,-8.305,2.825), (-8.805,2.325,-5.105,2.825), (-7.105,2.325,-5.105,2.825), (-6.755,2.325,-6.255,2.825), (-5.955,2.325,-5.455,2.825), (5.105,2.325,7.105,2.825), (5.105,2.325,8.805,2.825), (5.455,2.325,5.955,2.825), (6.255,2.325,6.755,2.825), (8.305,2.325,8.805,2.825), (-8.805,3.365,-4.595,4.365), (-7.635,3.365,-7.135,7.365), (-5.075,3.365,-4.575,7.365), (-3.565,3.365,-3.065,7.365), (-1.005,3.365,-0.505,7.365), (0.505,3.365,1.005,7.365), (3.065,3.365,3.565,7.365), (4.575,3.365,5.075,7.365), (4.595,3.365,8.805,4.365), (7.135,3.365,7.635,7.365), (-8.805,3.615,-8.305,4.115), (8.305,3.615,8.805,4.115), (-10.89,8.015,-10.39,8.515), (-10.89,8.015,-10.39,8.515), (-10.89,8.015,0.505,8.515), (0.505,8.015,1.005,8.515), (0.505,8.015,3.565,8.515), (3.565,8.015,10.89,8.515), (10.39,8.015,10.89,8.515), (10.39,8.015,10.89,8.515), (-10.09,8.815,-9.59,9.315), (-10.09,8.815,-9.59,9.315), (-10.09,8.815,0.505,9.315), (0.505,8.815,3.565,9.315), (3.065,8.815,3.565,9.315), (3.565,8.815,10.09,9.315), (9.59,8.815,10.09,9.315), (9.59,8.815,10.09,9.315), (-13.29,9.675,-12.79,10.175), (-13.29,9.675,-12.79,10.175), (-13.29,9.675,-3.565,10.175), (-3.565,9.675,-3.065,10.175), (-3.565,9.675,-0.505,10.175), (-0.505,9.675,13.29,10.175), (12.79,9.675,13.29,10.175), (12.79,9.675,13.29,10.175), (-12.49,10.475,-11.99,10.975), (-12.49,10.475,-11.99,10.975), (-12.49,10.475,-3.565,10.975), (-3.565,10.475,-0.505,10.975), (-1.005,10.475,-0.505,10.975), (-0.505,10.475,12.49,10.975), (11.99,10.475,12.49,10.975), (11.99,10.475,12.49,10.975), (-8.805,11.525,-7.155,12.525), (-7.635,11.525,-7.135,15.525), (-7.615,11.525,8.805,12.525), (-5.075,11.525,-4.575,15.525), (-3.565,11.525,-3.065,15.525), (-1.005,11.525,-0.505,15.525), (0.505,11.525,1.005,15.525), (3.065,11.525,3.565,15.525), (4.575,11.525,5.075,15.525), (7.135,11.525,7.635,15.525), (-8.805,11.775,-8.305,12.275), (8.305,11.775,8.805,12.275), (-8.805,16.065,-8.305,16.565), (-8.805,16.065,7.105,16.565), (-7.105,16.065,8.805,16.565), (-6.755,16.065,-6.255,16.565), (-5.955,16.065,-5.455,16.565), (-2.685,16.065,-2.185,16.565), (-1.885,16.065,-1.385,16.565), (1.385,16.065,1.885,16.565), (2.185,16.065,2.685,16.565), (5.455,16.065,5.955,16.565), (6.255,16.065,6.755,16.565), (8.305,16.065,8.805,16.565), (-8.805,16.96,-8.305,17.46), (-8.805,16.96,-8.305,17.46), (-8.805,16.96,-8.395,17.46), (-8.395,16.96,8.395,17.46), (8.305,16.96,8.805,17.46), (8.305,16.96,8.805,17.46), (8.395,16.96,8.805,17.46), (-10.09,17.98,-9.59,18.48), (-10.09,17.98,-9.59,18.48), (-10.09,17.98,-1.16,18.48), (-1.16,17.98,-0.66,18.48), (-0.66,17.98,10.09,18.48), (9.59,17.98,10.09,18.48), (9.59,17.98,10.09,18.48), (-12.49,18.78,-11.99,19.28), (-12.49,18.78,-11.99,19.28), (-12.49,18.78,0.66,19.28), (0.66,18.78,1.16,19.28), (1.16,18.78,12.49,19.28), (11.99,18.78,12.49,19.28), (11.99,18.78,12.49,19.28)])
A(unnamed_3cb071f0_1, via2, -14.77, -0.13, 0.26, 0.26, 7, 1, 0.8, 0)
A(unnamed_3cb071f0_1, via2, 9.71, -0.13, 0.26, 0.26, 7, 1, 0.8, 0)
R(unnamed_3cb071f0_1, via2, [(-13.17,-19.16,-12.91,-18.9), (0.78,-19.16,1.04,-18.9), (12.91,-19.16,13.17,-18.9), (-10.77,-18.36,-10.51,-18.1), (-1.04,-18.36,-0.78,-18.1), (10.51,-18.36,10.77,-18.1), (-9.97,18.1,-9.71,18.36), (-1.04,18.1,-0.78,18.36), (9.71,18.1,9.97,18.36), (-12.37,18.9,-12.11,19.16), (0.78,18.9,1.04,19.16), (12.11,18.9,12.37,19.16)])
A(unnamed_3cb071f0_1, metal3, -14.89, -0.25, 0.5, 0.5, 7, 1, 0.8, 0)
A(unnamed_3cb071f0_1, metal3, 9.59, -0.25, 0.5, 0.5, 7, 1, 0.8, 0)
R(unnamed_3cb071f0_1, metal3, [(-13.29,-19.28,-12.79,-18.78), (-13.29,-19.28,-12.79,-18.78), (-13.29,-19.28,-12.79,-0.25), (0.66,-19.28,1.16,-18.78), (12.79,-19.28,13.29,-18.78), (12.79,-19.28,13.29,-18.78), (12.79,-19.28,13.29,-0.25), (-10.89,-18.48,-10.39,-17.98), (-10.89,-18.48,-10.39,-17.98), (-10.89,-18.48,-10.39,-0.25), (-1.16,-18.48,-0.66,-17.98), (10.39,-18.48,10.89,-17.98), (10.39,-18.48,10.89,-17.98), (10.39,-18.48,10.89,-0.25), (-12.49,0.25,-11.99,19.28), (-10.09,0.25,-9.59,18.48), (9.59,0.25,10.09,18.48), (11.99,0.25,12.49,19.28), (-10.09,17.98,-9.59,18.48), (-10.09,17.98,-9.59,18.48), (-1.16,17.98,-0.66,18.48), (9.59,17.98,10.09,18.48), (9.59,17.98,10.09,18.48), (-12.49,18.78,-11.99,19.28), (-12.49,18.78,-11.99,19.28), (0.66,18.78,1.16,19.28), (11.99,18.78,12.49,19.28), (11.99,18.78,12.49,19.28)])
R(unnamed_3cb071f0_1, lvpwell, [(-9.035,-17.67,9.035,17.67)])

lib.write_gds('Unnamed_3cb071f0_1.gds')
